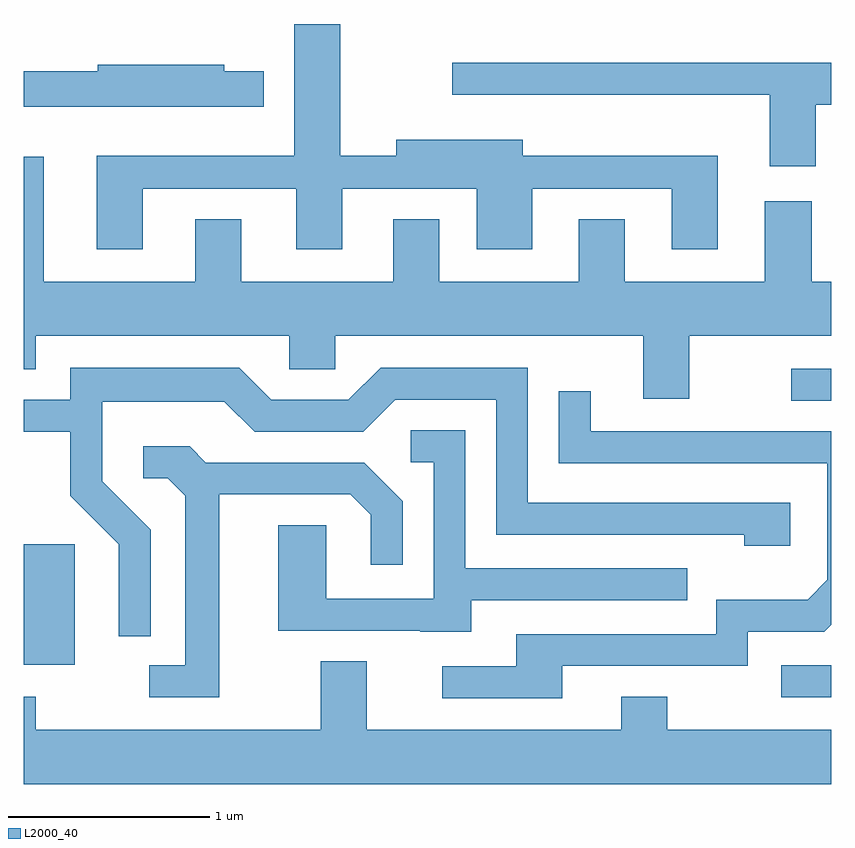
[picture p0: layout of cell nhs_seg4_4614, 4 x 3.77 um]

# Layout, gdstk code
import gdstk
lib = gdstk.Library(unit=1e-6, precision=1e-09)
def R(c, l, rs):  # rectangles x0, y0, x1, y1
    for r in rs: c.add(gdstk.rectangle(r[:2], r[2:], *l))
def P(c, l, *ps):  # polygons
    for p in ps: c.add(gdstk.Polygon(p, *l))
L2000_40 = (2000, 40)

nhs_seg4_4614 = lib.new_cell('nhs_seg4_4614')
R(nhs_seg4_4614, L2000_40, [(323.363,1370.646,323.611,1370.804), (319.611,1370.806,319.864,1371.404), (323.413,1372.116,323.611,1372.274)])
P(nhs_seg4_4614, L2000_40, [(320.199,1373.166),(320.961,1373.166),(320.961,1372.866),(321.189,1372.866),(321.189,1373.166),(321.856,1373.166),(321.856,1372.866),(322.129,1372.866),(322.129,1373.166),(322.821,1373.166),(322.821,1372.866),(323.049,1372.866),(323.049,1373.329),(322.084,1373.329),(322.084,1373.409),(321.456,1373.409),(321.456,1373.329),(321.179,1373.329),(321.179,1373.982),(320.951,1373.982),(320.951,1373.329),(319.971,1373.329),(319.971,1372.866),(320.199,1372.866)],
  [(323.534,1373.581),(323.611,1373.581),(323.611,1373.789),(321.733,1373.789),(321.733,1373.631),(323.306,1373.631),(323.306,1373.276),(323.534,1373.276)],
  [(320.799,1373.749),(320.604,1373.749),(320.604,1373.779),(319.976,1373.779),(319.976,1373.749),(319.611,1373.749),(319.611,1373.571),(320.799,1373.571)],
  [(322.909,1372.436),(323.611,1372.436),(323.611,1372.704),(323.514,1372.704),(323.514,1373.104),(323.281,1373.104),(323.281,1372.704),(322.589,1372.704),(322.589,1373.014),(322.361,1373.014),(322.361,1372.704),(321.669,1372.704),(321.669,1373.014),(321.441,1373.014),(321.441,1372.704),(320.689,1372.704),(320.689,1373.014),(320.461,1373.014),(320.461,1372.704),(319.709,1372.704),(319.709,1373.324),(319.611,1373.324),(319.611,1372.271),(319.669,1372.271),(319.669,1372.436),(320.926,1372.436),(320.926,1372.271),(321.154,1372.271),(321.154,1372.436),(322.681,1372.436),(322.681,1372.126),(322.909,1372.126)],
  [(320.239,1371.477),(319.999,1371.717),(319.999,1372.111),(320.604,1372.111),(320.754,1371.961),(321.292,1371.961),(321.452,1372.121),(321.951,1372.121),(321.951,1371.451),(323.181,1371.451),(323.181,1371.396),(323.409,1371.396),(323.409,1371.609),(322.109,1371.609),(322.109,1372.279),(321.379,1372.279),(321.219,1372.119),(320.837,1372.119),(320.677,1372.279),(319.841,1372.279),(319.841,1372.119),(319.611,1372.119),(319.611,1371.961),(319.841,1371.961),(319.841,1371.644),(320.081,1371.404),(320.081,1370.948),(320.239,1370.948)],
  [(322.279,1370.801),(323.199,1370.801),(323.199,1370.971),(323.577,1370.971),(323.611,1371.005),(323.611,1371.964),(322.419,1371.964),(322.419,1372.163),(322.261,1372.163),(322.261,1371.806),(323.591,1371.806),(323.591,1371.227),(323.494,1371.129),(323.041,1371.129),(323.041,1370.959),(322.051,1370.959),(322.051,1370.799),(321.683,1370.799),(321.683,1370.641),(322.279,1370.641)],
  [(321.829,1371.126),(322.898,1371.126),(322.898,1371.284),(321.799,1371.284),(321.799,1371.969),(321.528,1371.969),(321.528,1371.811),(321.641,1371.811),(321.641,1371.134),(321.109,1371.134),(321.109,1371.499),(320.871,1371.499),(320.871,1370.976),(321.575,1370.976),(321.575,1370.971),(321.829,1370.971)],
  [(320.579,1371.651),(321.229,1371.651),(321.331,1371.549),(321.331,1371.303),(321.489,1371.303),(321.489,1371.617),(321.297,1371.809),(320.512,1371.809),(320.432,1371.889),(320.203,1371.889),(320.203,1371.731),(320.324,1371.731),(320.411,1371.644),(320.411,1370.804),(320.233,1370.804),(320.233,1370.646),(320.579,1370.646)],
  [(323.611,1370.484),(322.799,1370.484),(322.799,1370.649),(322.571,1370.649),(322.571,1370.484),(321.309,1370.484),(321.309,1370.824),(321.081,1370.824),(321.081,1370.484),(319.669,1370.484),(319.669,1370.649),(319.611,1370.649),(319.611,1370.216),(323.611,1370.216)])

lib.write_gds('nhs_seg4_4614.gds')
